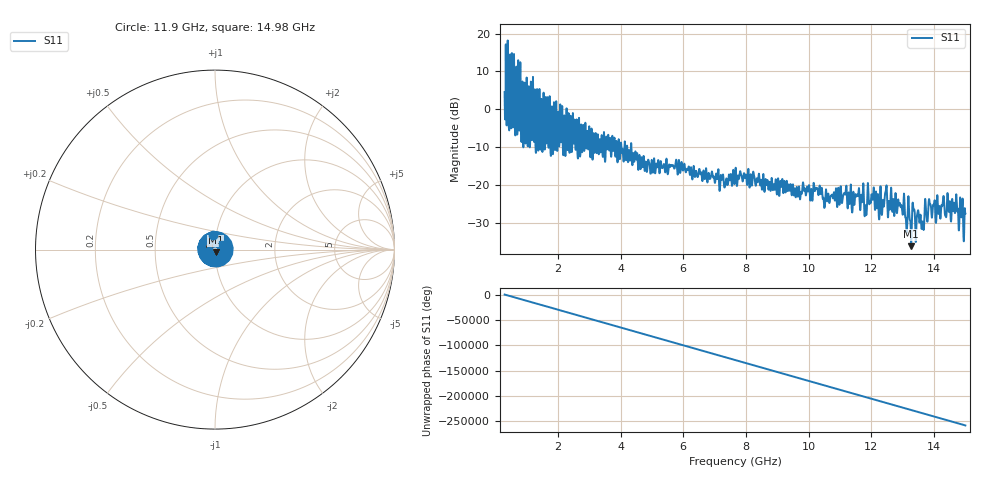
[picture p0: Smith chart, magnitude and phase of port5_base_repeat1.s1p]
# GHZ S RI R 50.0
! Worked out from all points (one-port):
!   12801 points, 300 MHz to 15 GHz, reference 50 ohm
!   lowest |S11| = -36.1 dB at 13.27 GHz (marker M1), VSWR 1.03, Z = 50.3 - j1.55 ohm
!   |S11| at or under -10 dB: 4.024 GHz to 4.124 GHz (99.49 MHz wide, 2.44 % of centre); 4.212 GHz to 4.328 GHz (116.3 MHz wide, 2.72 % of centre); 4.346 GHz to end of sweep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
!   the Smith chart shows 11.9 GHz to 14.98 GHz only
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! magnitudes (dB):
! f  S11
! 300 MHz  4.5
! 698.5 MHz  -6.4
! 739.9 MHz  3.4
! 904.1 MHz  -9.5
! 1.2 GHz  3.4
! 1.439 GHz  -10.5
! 1.607 GHz  -1.0
! 1.835 GHz  -11.7
! 2.138 GHz  0.8
! 2.232 GHz  -12.0
! 2.537 GHz  -2.9
! 2.693 GHz  -10.7
! 3.975 GHz  -13.1
! 4.981 GHz  -14.5
! 5.812 GHz  -17.0
! 7.361 GHz  -18.7
! 7.65 GHz  -18.4
! 9.488 GHz  -20.4
! 11.32 GHz  -23.2
! 12.02 GHz  -23.3
! 12.29 GHz  -20.3
! 12.43 GHz  -22.5
! 13.16 GHz  -26.5
! 13.27 GHz  -36.1
! 13.61 GHz  -31.1
! 13.89 GHz  -25.2
! 14.65 GHz  -26.0
! 15 GHz  -27.5
